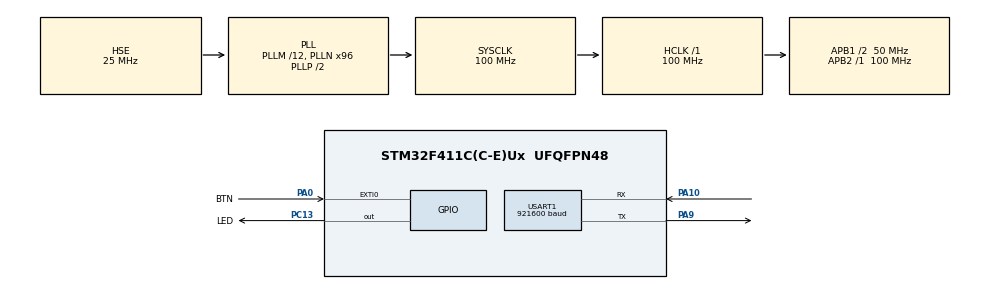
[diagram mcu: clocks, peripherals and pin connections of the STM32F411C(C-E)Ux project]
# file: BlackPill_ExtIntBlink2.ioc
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Mcu.Family=STM32F4
Mcu.Name=STM32F411C(C-E)Ux
Mcu.Package=UFQFPN48
NVIC.EXTI0_IRQn=true\:0\:0\:false\:false\:true\:true\:true\:true
NVIC.PriorityGroup=NVIC_PRIORITYGROUP_4
PA0-WKUP.GPIO_Label=BTN
PA0-WKUP.GPIO_ModeDefaultEXTI=GPIO_MODE_IT_RISING
PA0-WKUP.GPIO_PuPd=GPIO_PULLUP
PA0-WKUP.Signal=GPXTI0
PA10.Mode=Asynchronous
PA10.Signal=USART1_RX
PA13.Mode=Serial_Wire
PA13.Signal=SYS_JTMS-SWDIO
PA14.Mode=Serial_Wire
PA14.Signal=SYS_JTCK-SWCLK
PA9.Mode=Asynchronous
PA9.Signal=USART1_TX
PC13-ANTI_TAMP.GPIO_Label=LED
PC13-ANTI_TAMP.GPIO_ModeDefaultOutputPP=GPIO_MODE_OUTPUT_OD
PC13-ANTI_TAMP.GPIO_PuPd=GPIO_NOPULL
PC13-ANTI_TAMP.PinState=GPIO_PIN_SET
PC13-ANTI_TAMP.Signal=GPIO_Output
PH0\ -\ OSC_IN.Mode=HSE-External-Oscillator
PH0\ -\ OSC_IN.Signal=RCC_OSC_IN
PH1\ -\ OSC_OUT.Mode=HSE-External-Oscillator
PH1\ -\ OSC_OUT.Signal=RCC_OSC_OUT
ProjectManager.HeapSize=0x200
ProjectManager.StackSize=0x400
ProjectManager.TargetToolchain=STM32CubeIDE
RCC.48MHZClocksFreq_Value=50000000
RCC.AHBFreq_Value=100000000
RCC.APB1CLKDivider=RCC_HCLK_DIV2
RCC.APB1Freq_Value=50000000
RCC.APB1TimFreq_Value=100000000
RCC.APB2Freq_Value=100000000
RCC.APB2TimFreq_Value=100000000
RCC.CortexFreq_Value=100000000
RCC.HCLKFreq_Value=100000000
RCC.HSE_VALUE=25000000
RCC.HSI_VALUE=16000000
RCC.LSE_VALUE=32768
RCC.PLLM=12
RCC.PLLN=96
RCC.PLLSourceVirtual=RCC_PLLSOURCE_HSE
RCC.SYSCLKFreq_VALUE=100000000
RCC.SYSCLKSource=RCC_SYSCLKSOURCE_PLLCLK
RCC.VCOOutputFreq_Value=200000000
USART1.BaudRate=921600
USART1.VirtualMode=VM_ASYNC
board=custom

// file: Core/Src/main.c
/* USER CODE BEGIN Header */
/**
  ******************************************************************************
  * @file           : main.c
  * @brief          : Main program body
  ******************************************************************************
  * @attention
  *
  * Copyright (c) 2025 STMicroelectronics.
  * All rights reserved.
  *
  * This software is licensed under terms that can be found in the LICENSE file
  * in the root directory of this software component.
  * If no LICENSE file comes with this software, it is provided AS-IS.
  *
  ******************************************************************************
  */
/* USER CODE END Header */
#include "main.h"

/* USER CODE BEGIN Includes */
#include <stdio.h>

/* USER CODE END Includes */

UART_HandleTypeDef huart1;

/* USER CODE BEGIN PV */

uint8_t btn_press = 0;
uint16_t blink_delays[] = {500, 250, 100};
uint8_t blink_delay = 0;

/* USER CODE END PV */

void SystemClock_Config(void);
static void MX_GPIO_Init(void);
static void MX_USART1_UART_Init(void);

/* USER CODE BEGIN 0 */

// Send printf to uart1
int _write(int fd, char* ptr, int len) {
  HAL_StatusTypeDef hstatus;

  if (fd == 1 || fd == 2) {
    hstatus = HAL_UART_Transmit(&huart1, (uint8_t *) ptr, len, HAL_MAX_DELAY);
    if (hstatus == HAL_OK)
      return len;
    else
      return -1;
  }
  return -1;
}

// Here is the external interrupt handler
void HAL_GPIO_EXTI_Callback(uint16_t GPIO_Pin)
{
	if(GPIO_Pin == BTN_Pin)
	{
		btn_press = 1;
	}
}

/* USER CODE END 0 */

int main(void)
{

  /* MCU Configuration--------------------------------------------------------*/

  /* Reset of all peripherals, Initializes the Flash interface and the Systick. */
  HAL_Init();

  /* Configure the system clock */
  SystemClock_Config();

  /* Initialize all configured peripherals */
  MX_GPIO_Init();
  MX_USART1_UART_Init();
  /* USER CODE BEGIN 2 */

  printf("Blink2 starting ...\r\n");

  /* USER CODE END 2 */

  /* Infinite loop */
  /* USER CODE BEGIN WHILE */

  uint32_t now = 0;
  uint32_t last_blink = 0;
  uint32_t last_tick = 0;
  uint32_t loop_cnt = 0;

  while (1)
  {
	 now = HAL_GetTick();
	//now = uwTick;     // Same as HAL_GetTick()

	 if(now - last_blink >= blink_delays[blink_delay])
	 {
		 printf("Toggling GPIO at %lu\r\n", now);

		 HAL_GPIO_TogglePin(LED_GPIO_Port, LED_Pin);

		 last_blink = now;
	 }

	 if(now - last_tick >= 1000)
	 {
		 printf("Tick %lu (loop count: %lu)\r\n", now/1000, loop_cnt);  // Convert msec to seconds

		 last_tick = now;

		 loop_cnt = 0;
	 }

	 if(btn_press == 1)
	 {
		 printf("Button was pressed.\r\n");

		 blink_delay++;		// Increment blink delay

		 if(blink_delay >= sizeof(blink_delays)/sizeof(blink_delays[0]))
		 {
			 blink_delay = 0;
		 }
		 btn_press = 0;  //Reset the button press flag

	 }

	 loop_cnt++;
    /* USER CODE END WHILE */

  }
}

void SystemClock_Config(void)
{
  RCC_OscInitTypeDef RCC_OscInitStruct = {0};
  RCC_ClkInitTypeDef RCC_ClkInitStruct = {0};

  /** Configure the main internal regulator output voltage
  */
  __HAL_RCC_PWR_CLK_ENABLE();
  __HAL_PWR_VOLTAGESCALING_CONFIG(PWR_REGULATOR_VOLTAGE_SCALE1);

  /** Initializes the RCC Oscillators according to the specified parameters
  * in the RCC_OscInitTypeDef structure.
  */
  RCC_OscInitStruct.OscillatorType = RCC_OSCILLATORTYPE_HSE;
  RCC_OscInitStruct.HSEState = RCC_HSE_ON;
  RCC_OscInitStruct.PLL.PLLState = RCC_PLL_ON;
  RCC_OscInitStruct.PLL.PLLSource = RCC_PLLSOURCE_HSE;
  RCC_OscInitStruct.PLL.PLLM = 12;
  RCC_OscInitStruct.PLL.PLLN = 96;
  RCC_OscInitStruct.PLL.PLLP = RCC_PLLP_DIV2;
  RCC_OscInitStruct.PLL.PLLQ = 4;
  if (HAL_RCC_OscConfig(&RCC_OscInitStruct) != HAL_OK)
  {
    Error_Handler();
  }

  /** Initializes the CPU, AHB and APB buses clocks
  */
  RCC_ClkInitStruct.ClockType = RCC_CLOCKTYPE_HCLK|RCC_CLOCKTYPE_SYSCLK
                              |RCC_CLOCKTYPE_PCLK1|RCC_CLOCKTYPE_PCLK2;
  RCC_ClkInitStruct.SYSCLKSource = RCC_SYSCLKSOURCE_PLLCLK;
  RCC_ClkInitStruct.AHBCLKDivider = RCC_SYSCLK_DIV1;
  RCC_ClkInitStruct.APB1CLKDivider = RCC_HCLK_DIV2;
  RCC_ClkInitStruct.APB2CLKDivider = RCC_HCLK_DIV1;

  if (HAL_RCC_ClockConfig(&RCC_ClkInitStruct, FLASH_LATENCY_3) != HAL_OK)
  {
    Error_Handler();
  }
}

static void MX_USART1_UART_Init(void)
{

  huart1.Instance = USART1;
  huart1.Init.BaudRate = 115200;
  huart1.Init.WordLength = UART_WORDLENGTH_8B;
  huart1.Init.StopBits = UART_STOPBITS_1;
  huart1.Init.Parity = UART_PARITY_NONE;
  huart1.Init.Mode = UART_MODE_TX_RX;
  huart1.Init.HwFlowCtl = UART_HWCONTROL_NONE;
  huart1.Init.OverSampling = UART_OVERSAMPLING_16;
  if (HAL_UART_Init(&huart1) != HAL_OK)
  {
    Error_Handler();
  }

}

static void MX_GPIO_Init(void)
{
  GPIO_InitTypeDef GPIO_InitStruct = {0};

  /* GPIO Ports Clock Enable */
  __HAL_RCC_GPIOC_CLK_ENABLE();
  __HAL_RCC_GPIOH_CLK_ENABLE();
  __HAL_RCC_GPIOA_CLK_ENABLE();

  /*Configure GPIO pin Output Level */
  HAL_GPIO_WritePin(LED_GPIO_Port, LED_Pin, GPIO_PIN_SET);

  /*Configure GPIO pin : LED_Pin */
  GPIO_InitStruct.Pin = LED_Pin;
  GPIO_InitStruct.Mode = GPIO_MODE_OUTPUT_OD;
  GPIO_InitStruct.Pull = GPIO_NOPULL;
  GPIO_InitStruct.Speed = GPIO_SPEED_FREQ_LOW;
  HAL_GPIO_Init(LED_GPIO_Port, &GPIO_InitStruct);

  /*Configure GPIO pin : BTN_Pin */
  GPIO_InitStruct.Pin = BTN_Pin;
  GPIO_InitStruct.Mode = GPIO_MODE_IT_RISING;
  GPIO_InitStruct.Pull = GPIO_PULLUP;
  HAL_GPIO_Init(BTN_GPIO_Port, &GPIO_InitStruct);

  /* EXTI interrupt init*/
  HAL_NVIC_SetPriority(EXTI0_IRQn, 0, 0);
  HAL_NVIC_EnableIRQ(EXTI0_IRQn);

}

void Error_Handler(void)
{
  __disable_irq();
  while (1)
  {
  }
}
